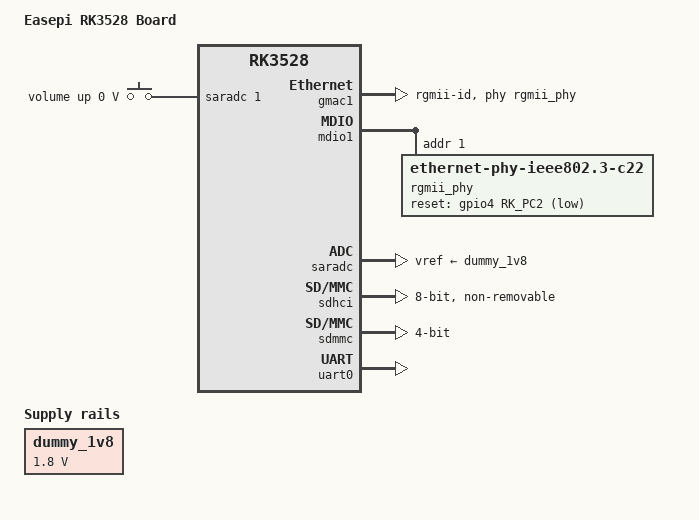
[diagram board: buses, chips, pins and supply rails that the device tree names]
// SPDX-License-Identifier: (GPL-2.0+ OR MIT)

/dts-v1/;

#include <dt-bindings/input/input.h>
#include <dt-bindings/leds/common.h>
#include <dt-bindings/pwm/pwm.h>
#include "rk3528.dtsi"

/ {
	model = "Easepi RK3528 Board";
	compatible = "linkease,rk3528-demo", "rockchip,rk3528";

	aliases {
		ethernet0 = &gmac1;
		mmc0 = &sdhci;
		mmc1 = &sdmmc;
		serial0 = &uart0;
	};

	chosen {
		stdout-path = "serial0:1500000n8";
	};

	adc-keys {
		compatible = "adc-keys";
		io-channels = <&saradc 1>;
		io-channel-names = "buttons";
		keyup-threshold-microvolt = <1800000>;
		poll-interval = <100>;

		volumeup-key {
			linux,code = <KEY_VOLUMEUP>;
			label = "volume up";
			press-threshold-microvolt = <9>;
		};
	};

	dummy_1v8: vcc-dummy-1v8-regulator {
		compatible = "regulator-fixed";
		regulator-always-on;
		regulator-boot-on;
		regulator-min-microvolt = <1800000>;
		regulator-max-microvolt = <1800000>;
		regulator-name = "dummy_1v8";
	};
};

&gmac1 {
	clock_in_out = "output";
	phy-handle = <&rgmii_phy>;
	phy-mode = "rgmii-id";
	pinctrl-names = "default";
	pinctrl-0 = <&rgmii_miim>,
		    <&rgmii_tx_bus2>,
		    <&rgmii_rx_bus2>,
		    <&rgmii_rgmii_clk>,
		    <&rgmii_rgmii_bus>;
	status = "okay";
};

&mdio1 {
	rgmii_phy: ethernet-phy@1 {
		compatible = "ethernet-phy-ieee802.3-c22";
		reg = <0x1>;
		pinctrl-names = "default";
		pinctrl-0 = <&gmac1_rstn_l>;
		reset-assert-us = <20000>;
		reset-deassert-us = <100000>;
		reset-gpios = <&gpio4 RK_PC2 GPIO_ACTIVE_LOW>;
	};
};

&pinctrl {
	gmac {
		gmac1_rstn_l: gmac1-rstn-l {
			rockchip,pins = <4 RK_PC2 RK_FUNC_GPIO &pcfg_pull_none>;
		};
	};
};

&saradc {
	vref-supply = <&dummy_1v8>;
	status = "okay";
};

&sdhci {
	bus-width = <8>;
	cap-mmc-highspeed;
	mmc-hs200-1_8v;
	non-removable;
	status = "okay";
};

&sdmmc {
	bus-width = <4>;
	cap-sd-highspeed;
	disable-wp;
	sd-uhs-sdr104;
	status = "okay";
};

&uart0 {
	pinctrl-names = "default";
	pinctrl-0 = <&uart0m0_xfer>;
	status = "okay";
};
